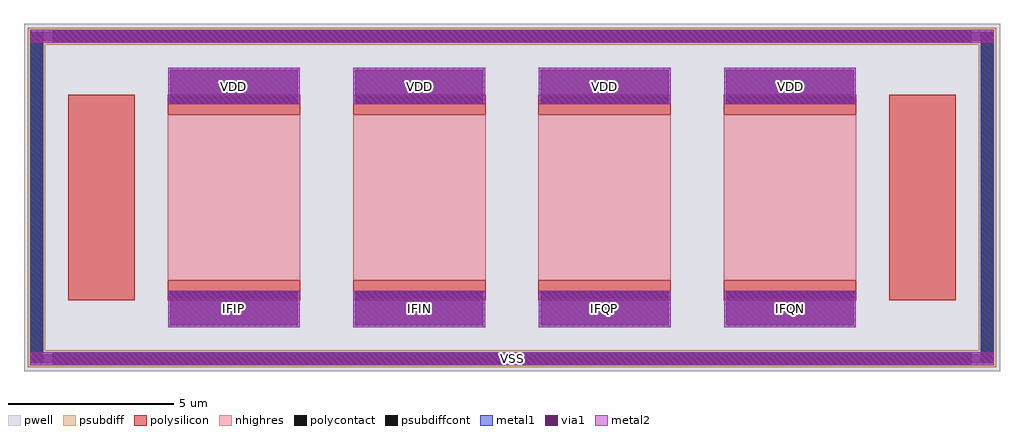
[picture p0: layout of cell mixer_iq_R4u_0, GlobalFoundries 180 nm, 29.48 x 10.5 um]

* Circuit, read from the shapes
.subckt mixer_iq_R4u_0 IFIP VDD IFIN IFQP IFQN VSS
XR1 VDD IFIP VSS ppolyf_u_1k r_width=4u r_length=5u
XR2 VDD IFIN VSS ppolyf_u_1k r_width=4u r_length=5u
XR3 VDD IFQP VSS ppolyf_u_1k r_width=4u r_length=5u
XR4 VDD IFQN VSS ppolyf_u_1k r_width=4u r_length=5u
.ends

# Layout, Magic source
magic
tech gf180mcuD
magscale 1 10
<< pwell >>
rect -1268 -464 4628 1636
<< psubdiff >>
rect -1244 -440 4604 -336
rect -1244 1508 4604 1612
rect -1244 -336 -1140 1508
rect 4500 -336 4604 1508
<< polysilicon >>
rect -400 1086 400 1208
rect -400 -36 400 86
rect 720 1086 1520 1208
rect 720 -36 1520 86
rect 1840 1086 2640 1208
rect 1840 -36 2640 86
rect 2960 1086 3760 1208
rect 2960 -36 3760 86
rect -1000 -36 -600 1208
rect 3960 -36 4360 1208
<< nhighres >>
rect -400 86 400 1086
rect 720 86 1520 1086
rect 1840 86 2640 1086
rect 2960 86 3760 1086
<< psubdiffcont >>
rect -1231 -416 -1153 1588
rect 4513 -416 4591 1588
rect -1093 1521 4453 1599
rect -1093 -427 4453 -349
<< polycontact >>
rect -387 1149 387 1195
rect -387 -23 387 23
rect 733 1149 1507 1195
rect 733 -23 1507 23
rect 1853 1149 2627 1195
rect 1853 -23 2627 23
rect 2973 1149 3747 1195
rect 2973 -23 3747 23
<< metal1 >>
rect -398 1149 398 1195
rect -398 -23 398 23
rect 722 1149 1518 1195
rect 722 -23 1518 23
rect 1842 1149 2638 1195
rect 1842 -23 2638 23
rect 2962 1149 3758 1195
rect 2962 -23 3758 23
rect -398 -197 398 23
rect -398 1149 398 1369
rect 722 -197 1518 23
rect 722 1149 1518 1369
rect 1842 -197 2638 23
rect 1842 1149 2638 1369
rect 2962 -197 3758 23
rect 2962 1149 3758 1369
rect -1231 -427 4591 -349
rect -1231 1521 4591 1599
rect -1231 -427 -1153 1599
rect 4513 -427 4591 1599
rect -1231 -427 4591 -349
rect -1231 1521 4591 1599
<< metal2 >>
rect -398 -197 398 23
rect -398 1149 398 1369
rect 722 -197 1518 23
rect 722 1149 1518 1369
rect 1842 -197 2638 23
rect 1842 1149 2638 1369
rect 2962 -197 3758 23
rect 2962 1149 3758 1369
rect -1231 -427 4591 -349
rect -1231 1521 4591 1599
<< via1 >>
rect -386 -185 386 11
rect -386 1161 386 1357
rect 734 -185 1506 11
rect 734 1161 1506 1357
rect 1854 -185 2626 11
rect 1854 1161 2626 1357
rect 2974 -185 3746 11
rect 2974 1161 3746 1357
rect -1219 -415 4579 -361
rect -1219 1533 4579 1587
<< labels >>
flabel metal2 s -398 -197 398 23 0 FreeSans 80 0 0 0 IFIP
port 1 nsew signal bidirectional
flabel metal2 s -398 1149 398 1369 0 FreeSans 80 0 0 0 VDD
port 2 nsew signal bidirectional
flabel metal2 s 722 -197 1518 23 0 FreeSans 80 0 0 0 IFIN
port 3 nsew signal bidirectional
flabel metal2 s 722 1149 1518 1369 0 FreeSans 80 0 0 0 VDD
port 2 nsew signal bidirectional
flabel metal2 s 1842 -197 2638 23 0 FreeSans 80 0 0 0 IFQP
port 4 nsew signal bidirectional
flabel metal2 s 1842 1149 2638 1369 0 FreeSans 80 0 0 0 VDD
port 2 nsew signal bidirectional
flabel metal2 s 2962 -197 3758 23 0 FreeSans 80 0 0 0 IFQN
port 5 nsew signal bidirectional
flabel metal2 s 2962 1149 3758 1369 0 FreeSans 80 0 0 0 VDD
port 2 nsew signal bidirectional
flabel metal2 s -1231 -427 4591 -349 0 FreeSans 80 0 0 0 VSS
port 6 nsew signal bidirectional
<< end >>
